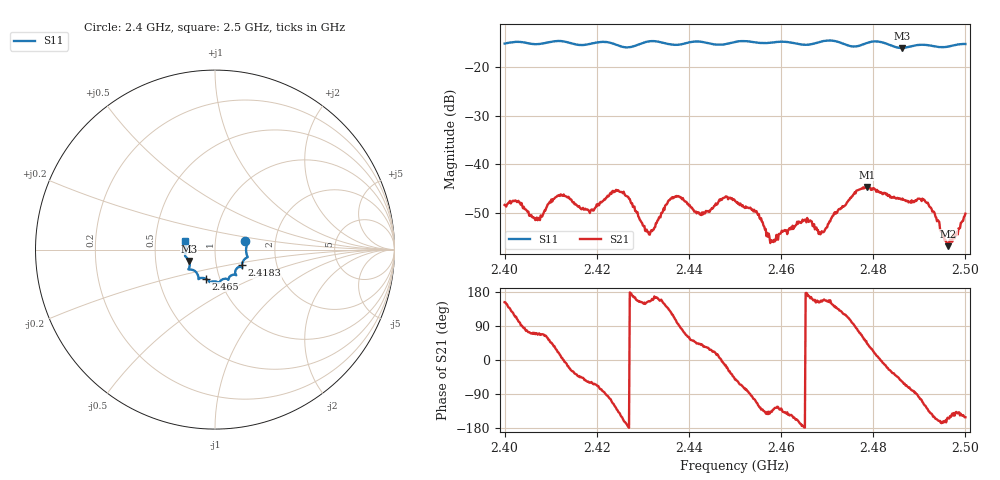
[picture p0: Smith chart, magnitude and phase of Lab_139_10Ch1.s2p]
# Hz S RI R 50
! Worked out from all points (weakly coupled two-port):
!   601 points, 2.4 GHz to 2.5 GHz, reference 50 ohm
!   highest |S21| = -44.64 dB at 2.4787 GHz (marker M1); lowest = -56.8 dB at 2.4963 GHz (marker M2)
!   lowest |S11| = -16.0 dB at 2.4862 GHz (marker M3), VSWR 1.38, Z = 37.1 - j4.81 ohm
!   |S11| at or under -10 dB: start of sweep to end of sweep
!   S12 and S22 are empty: the file has one direction only
!   S11 on the Smith chart (normalised r, x): 2.4 GHz: 1.40, +0.13; 2.4183 GHz: 1.33, -0.24; 2.465 GHz: 0.86, -0.29; 2.5 GHz: 0.71, +0.07
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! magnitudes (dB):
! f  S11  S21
! 2.4 GHz  -15.1  -48.3
! 2.4072 GHz  -15.2  -51.5
! 2.4118 GHz  -14.6  -46.3
! 2.4167 GHz  -15.4  -49.2
! 2.4183 GHz  -15.2  -49.5
! 2.4247 GHz  -15.5  -45.3
! 2.431 GHz  -14.7  -53.9
! 2.4333 GHz  -14.7  -51.4
! 2.4372 GHz  -15.4  -46.7
! 2.4425 GHz  -14.7  -50.2
! 2.45 GHz  -14.8  -47.5
! 2.4547 GHz  -14.9  -49.6
! 2.4582 GHz  -14.9  -55.7
! 2.465 GHz  -15.4  -51.5
! 2.4667 GHz  -15.2  -51.7
! 2.469 GHz  -14.6  -53.9
! 2.4787 GHz  -15.0  -44.6
! 2.4833 GHz  -15.3  -46.3
! 2.4862 GHz  -16.0  -47.2
! 2.4915 GHz  -15.4  -47.9
! 2.4963 GHz  -15.7  -56.8
! 2.5 GHz  -15.2  -50.2
